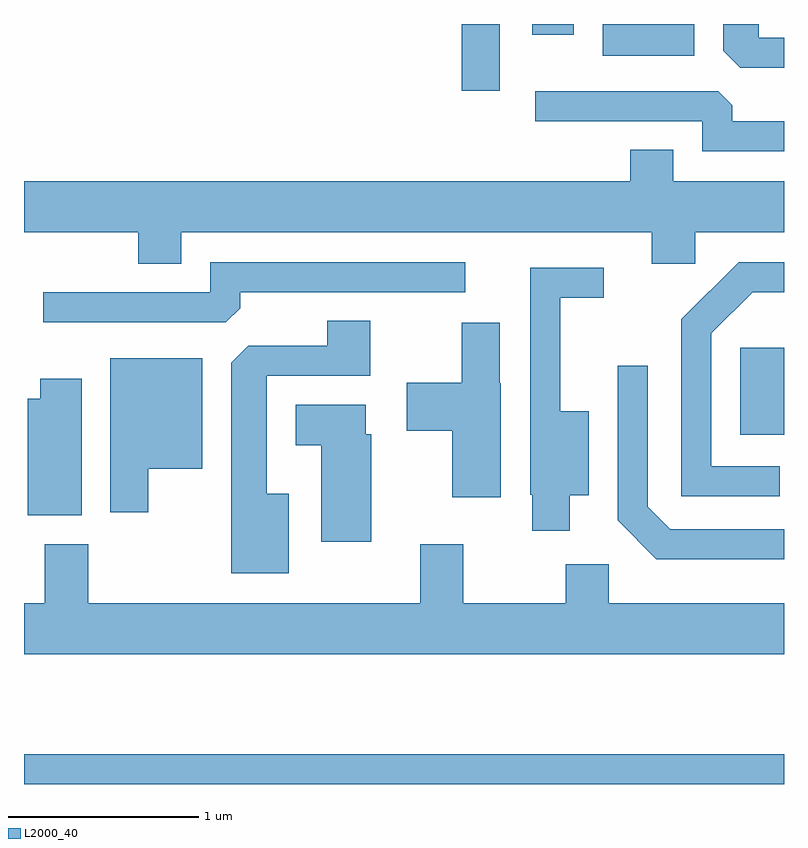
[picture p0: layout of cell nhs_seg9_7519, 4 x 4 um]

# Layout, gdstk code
import gdstk
lib = gdstk.Library(unit=1e-6, precision=1e-09)
def R(c, l, rs):  # rectangles x0, y0, x1, y1
    for r in rs: c.add(gdstk.rectangle(r[:2], r[2:], *l))
def P(c, l, *ps):  # polygons
    for p in ps: c.add(gdstk.Polygon(p, *l))
L2000_40 = (2000, 40)

nhs_seg9_7519 = lib.new_cell('nhs_seg9_7519')
R(nhs_seg9_7519, L2000_40, [(407.611,2024.432,411.611,2024.589), (411.381,2026.271,411.611,2026.729), (409.916,2028.081,410.114,2028.432), (410.656,2028.266,411.139,2028.432), (410.286,2028.376,410.504,2028.432)])
P(nhs_seg9_7519, L2000_40, [(411.611,2028.359),(411.479,2028.359),(411.479,2028.432),(411.291,2028.432),(411.291,2028.292),(411.382,2028.201),(411.611,2028.201)],
  [(411.611,2027.919),(411.339,2027.919),(411.339,2028.004),(411.264,2028.079),(410.303,2028.079),(410.303,2027.921),(411.181,2027.921),(411.181,2027.761),(411.611,2027.761)],
  [(408.439,2027.336),(410.916,2027.336),(410.916,2027.171),(411.144,2027.171),(411.144,2027.336),(411.611,2027.336),(411.611,2027.604),(411.029,2027.604),(411.029,2027.769),(410.801,2027.769),(410.801,2027.604),(407.611,2027.604),(407.611,2027.336),(408.211,2027.336),(408.211,2027.171),(408.439,2027.171)],
  [(411.588,2026.104),(411.229,2026.104),(411.229,2026.804),(411.447,2027.021),(411.611,2027.021),(411.611,2027.179),(411.374,2027.179),(411.071,2026.877),(411.071,2025.946),(411.588,2025.946)],
  [(408.749,2026.937),(408.749,2027.021),(409.933,2027.021),(409.933,2027.179),(408.591,2027.179),(408.591,2027.019),(407.713,2027.019),(407.713,2026.861),(408.674,2026.861)],
  [(410.484,2025.951),(410.584,2025.951),(410.584,2026.394),(410.434,2026.394),(410.434,2026.991),(410.663,2026.991),(410.663,2027.149),(410.276,2027.149),(410.276,2025.955),(410.286,2025.955),(410.286,2025.766),(410.484,2025.766)],
  [(409.004,2025.959),(408.889,2025.959),(408.889,2026.581),(409.434,2026.581),(409.434,2026.869),(409.206,2026.869),(409.206,2026.739),(408.792,2026.739),(408.701,2026.649),(408.701,2025.541),(409.004,2025.541)],
  [(410.119,2026.54),(410.114,2026.54),(410.114,2026.859),(409.916,2026.859),(409.916,2026.544),(409.626,2026.544),(409.626,2026.291),(409.866,2026.291),(409.866,2025.941),(410.119,2025.941)],
  [(408.264,2026.091),(408.549,2026.091),(408.549,2026.674),(408.066,2026.674),(408.066,2025.861),(408.264,2025.861)],
  [(411.611,2025.774),(411.012,2025.774),(410.894,2025.892),(410.894,2026.633),(410.736,2026.633),(410.736,2025.819),(410.939,2025.616),(411.611,2025.616)],
  [(407.914,2026.564),(407.696,2026.564),(407.696,2026.459),(407.631,2026.459),(407.631,2025.846),(407.914,2025.846)],
  [(409.439,2026.274),(409.409,2026.274),(409.409,2026.429),(409.041,2026.429),(409.041,2026.216),(409.176,2026.216),(409.176,2025.706),(409.439,2025.706)],
  [(411.611,2025.384),(410.689,2025.384),(410.689,2025.589),(410.461,2025.589),(410.461,2025.384),(409.924,2025.384),(409.924,2025.694),(409.696,2025.694),(409.696,2025.384),(407.949,2025.384),(407.949,2025.694),(407.721,2025.694),(407.721,2025.384),(407.611,2025.384),(407.611,2025.116),(411.611,2025.116)])

lib.write_gds('nhs_seg9_7519.gds')
